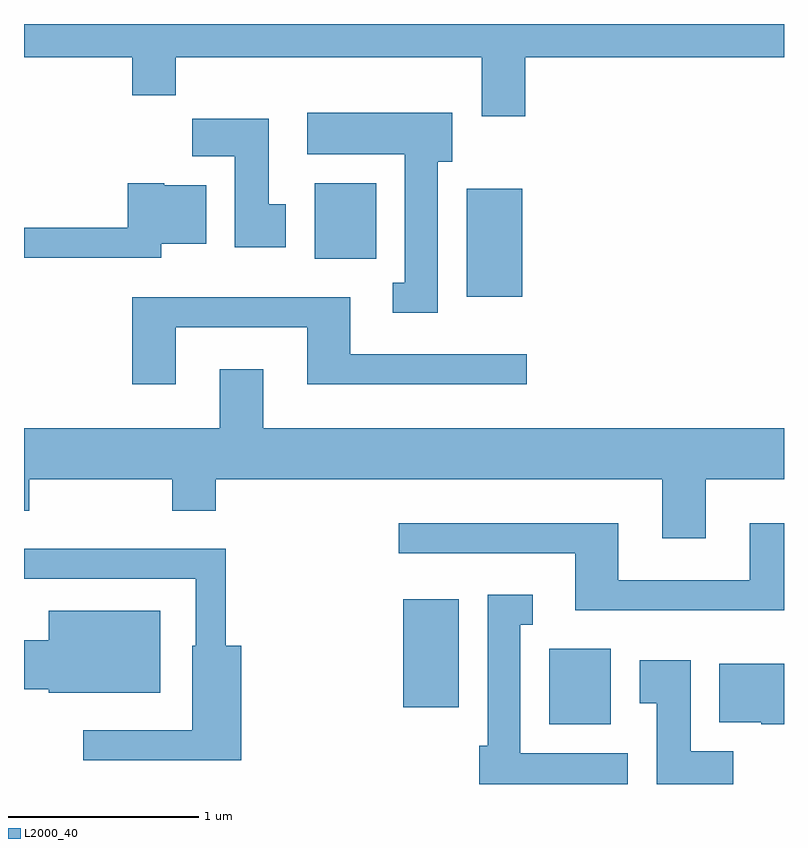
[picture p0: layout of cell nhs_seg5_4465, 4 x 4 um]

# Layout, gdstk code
import gdstk
lib = gdstk.Library(unit=1e-6, precision=1e-09)
def R(c, l, rs):  # rectangles x0, y0, x1, y1
    for r in rs: c.add(gdstk.rectangle(r[:2], r[2:], *l))
def P(c, l, *ps):  # polygons
    for p in ps: c.add(gdstk.Polygon(p, *l))
L2000_40 = (2000, 40)

nhs_seg5_4465 = lib.new_cell('nhs_seg5_4465')
R(nhs_seg5_4465, L2000_40, [(320.376,1464.386,320.699,1464.784), (319.606,1464.476,319.899,1465.044), (319.941,1466.636,320.234,1467.204), (319.141,1466.836,319.464,1467.234)])
P(nhs_seg5_4465, L2000_40, [(320.249,1467.896),(321.611,1467.896),(321.611,1468.072),(317.611,1468.072),(317.611,1467.896),(318.181,1467.896),(318.181,1467.696),(318.409,1467.696),(318.409,1467.896),(320.021,1467.896),(320.021,1467.586),(320.249,1467.586)],
  [(319.789,1467.346),(319.864,1467.346),(319.864,1467.604),(319.101,1467.604),(319.101,1467.386),(319.616,1467.386),(319.616,1466.709),(319.553,1466.709),(319.553,1466.551),(319.789,1466.551)],
  [(318.989,1467.124),(318.899,1467.124),(318.899,1467.574),(318.496,1467.574),(318.496,1467.376),(318.721,1467.376),(318.721,1466.896),(318.989,1466.896)],
  [(318.334,1466.916),(318.569,1466.916),(318.569,1467.224),(318.35,1467.224),(318.35,1467.234),(318.156,1467.234),(318.156,1466.999),(317.611,1466.999),(317.611,1466.841),(318.334,1466.841)],
  [(318.409,1466.476),(319.101,1466.476),(319.101,1466.176),(320.258,1466.176),(320.258,1466.334),(319.329,1466.334),(319.329,1466.634),(318.181,1466.634),(318.181,1466.176),(318.409,1466.176)],
  [(321.199,1465.676),(321.611,1465.676),(321.611,1465.944),(318.869,1465.944),(318.869,1466.254),(318.641,1466.254),(318.641,1465.944),(317.611,1465.944),(317.611,1465.511),(317.639,1465.511),(317.639,1465.676),(318.391,1465.676),(318.391,1465.511),(318.619,1465.511),(318.619,1465.676),(320.971,1465.676),(320.971,1465.366),(321.199,1465.366)],
  [(321.611,1465.444),(321.431,1465.444),(321.431,1465.144),(320.739,1465.144),(320.739,1465.444),(319.583,1465.444),(319.583,1465.286),(320.511,1465.286),(320.511,1464.986),(321.611,1464.986)],
  [(318.754,1464.799),(318.674,1464.799),(318.674,1465.309),(317.611,1465.309),(317.611,1465.151),(318.516,1465.151),(318.516,1464.799),(318.496,1464.799),(318.496,1464.354),(317.923,1464.354),(317.923,1464.196),(318.754,1464.196)],
  [(320.789,1464.234),(320.224,1464.234),(320.224,1464.911),(320.288,1464.911),(320.288,1465.069),(320.051,1465.069),(320.051,1464.274),(320.006,1464.274),(320.006,1464.072),(320.789,1464.072)],
  [(318.329,1464.984),(317.741,1464.984),(317.741,1464.829),(317.611,1464.829),(317.611,1464.571),(317.741,1464.571),(317.741,1464.551),(318.329,1464.551)],
  [(321.344,1464.244),(321.119,1464.244),(321.119,1464.724),(320.851,1464.724),(320.851,1464.496),(320.941,1464.496),(320.941,1464.072),(321.344,1464.072)],
  [(321.611,1464.704),(321.271,1464.704),(321.271,1464.396),(321.49,1464.396),(321.49,1464.386),(321.611,1464.386)])

lib.write_gds('nhs_seg5_4465.gds')
